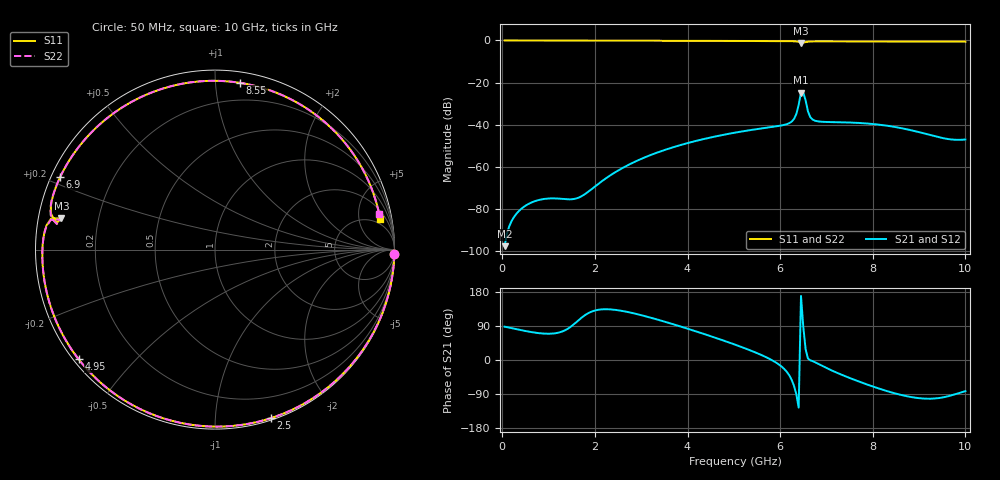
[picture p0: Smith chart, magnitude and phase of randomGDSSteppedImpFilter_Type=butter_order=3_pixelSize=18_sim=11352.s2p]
! freq	dB(S11)	phase(S11)	dB(S12)	phase(S12)
!  dB(S21)	phase(S21)	dB(S22)	phase(S22)
!S-par simulation data
#  GHz  S  DB  R 50
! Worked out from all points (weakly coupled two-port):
!   200 points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, 50 MHz to 10 GHz, reference 50 ohm
!   highest |S21| = -24.68 dB at 6.45 GHz (marker M1); lowest = -97.5 dB at 50 MHz (marker M2)
!   lowest |S11| = -1.2 dB at 6.45 GHz (marker M3), VSWR 14.80, Z = 3.41 + j4.99 ohm
!   |S11| at or under -10 dB: nowhere
!   |S22| runs from -1.2 to 0.0 dB; largest |S21 - S12| = 0
!   S11 on the Smith chart (normalised r, x): 50 MHz: 1, -77; 2.5 GHz: 0.02, -1.38; 4.95 GHz: 0.01, -0.35; 6.9 GHz: 0.03, +0.22; 8.55 GHz: 0.07, +1.16; 10 GHz: 3, +10
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0.05  -0.00 -1.5  -97.52 87.9  -97.52 87.9  -0.00 -1.5
0.4  -0.01 -11.7  -80.01 78.9  -80.01 78.9  -0.01 -11.7
0.85  -0.03 -24.8  -75.33 70.1  -75.33 70.1  -0.03 -24.8
1.5  -0.06 -43.5  -75.29 89.7  -75.29 89.7  -0.06 -43.5
1.75  -0.06 -50.6  -73.34 115.2  -73.34 115.2  -0.06 -50.7
2.5  -0.09 -71.8  -61.67 131.3  -61.67 131.3  -0.09 -71.8
3.4  -0.13 -96.9  -52.72 104.9  -52.72 104.9  -0.13 -96.9
4.15  -0.17 -118.0  -47.80 76.8  -47.80 76.8  -0.17 -117.9
4.95  -0.22 -141.2  -44.00 43.9  -44.00 43.9  -0.22 -141.0
5.05  -0.23 -144.2  -43.61 39.5  -43.61 39.5  -0.23 -144.0
6.2  -0.35 178.3  -39.17 -41.1  -39.17 -41.1  -0.35 178.7
6.35  -0.46 171.9  -34.86 -91.0  -34.86 -91.0  -0.46 172.3
6.45  -1.18 168.5  -24.68 169.2  -24.68 169.2  -1.19 169.0
6.5  -0.98 170.3  -24.70 86.7  -24.70 86.7  -0.99 170.8
6.6  -0.58 167.6  -33.55 4.0  -33.55 4.0  -0.58 168.1
6.7  -0.45 163.0  -37.50 -3.0  -37.50 -3.0  -0.44 163.6
6.9  -0.42 154.8  -38.55 -15.1  -38.55 -15.1  -0.42 155.4
7.7  -0.49 121.3  -39.11 -56.7  -39.11 -56.7  -0.48 122.3
8.35  -0.53 91.2  -40.56 -83.6  -40.56 -83.6  -0.53 92.5
8.55  -0.54 81.5  -41.30 -90.3  -41.30 -90.3  -0.54 82.9
9.35  -0.56 41.8  -45.47 -101.5  -45.47 -101.5  -0.56 43.5
10  -0.58 10.5  -46.96 -82.1  -46.96 -82.1  -0.58 12.3
